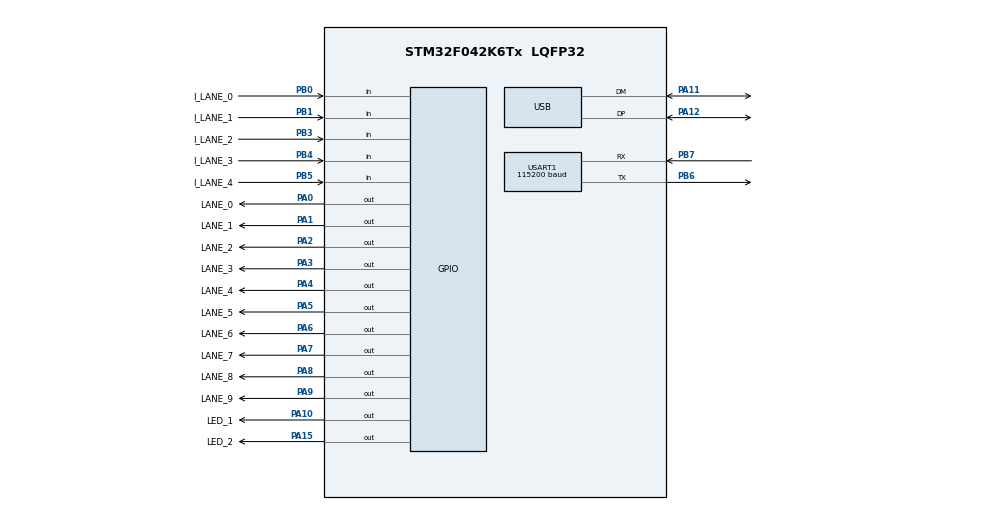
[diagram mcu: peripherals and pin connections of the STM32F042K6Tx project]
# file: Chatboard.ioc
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Mcu.Family=STM32F0
Mcu.Name=STM32F042K6Tx
Mcu.Package=LQFP32
NVIC.USB_IRQn=true\:0\:0\:false\:false\:true\:false
PA0.GPIO_Label=LANE_0
PA0.GPIO_Speed=GPIO_SPEED_FREQ_HIGH
PA0.Signal=GPIO_Output
PA1.GPIO_Label=LANE_1
PA1.GPIO_Speed=GPIO_SPEED_FREQ_HIGH
PA1.Signal=GPIO_Output
PA10.GPIO_Label=LED_1
PA10.Signal=GPIO_Output
PA11.Mode=Device
PA11.Signal=USB_DM
PA12.Mode=Device
PA12.Signal=USB_DP
PA13.Mode=Serial_Wire
PA13.Signal=SYS_SWDIO
PA14.Mode=Serial_Wire
PA14.Signal=SYS_SWCLK
PA15.GPIO_Label=LED_2
PA15.Signal=GPIO_Output
PA2.GPIO_Label=LANE_2
PA2.GPIO_Speed=GPIO_SPEED_FREQ_HIGH
PA2.Signal=GPIO_Output
PA3.GPIO_Label=LANE_3
PA3.GPIO_Speed=GPIO_SPEED_FREQ_HIGH
PA3.Signal=GPIO_Output
PA4.GPIO_Label=LANE_4
PA4.GPIO_Speed=GPIO_SPEED_FREQ_HIGH
PA4.Signal=GPIO_Output
PA5.GPIO_Label=LANE_5
PA5.GPIO_Speed=GPIO_SPEED_FREQ_HIGH
PA5.Signal=GPIO_Output
PA6.GPIO_Label=LANE_6
PA6.GPIO_Speed=GPIO_SPEED_FREQ_HIGH
PA6.Signal=GPIO_Output
PA7.GPIO_Label=LANE_7
PA7.GPIO_Speed=GPIO_SPEED_FREQ_HIGH
PA7.Signal=GPIO_Output
PA8.GPIO_Label=LANE_8
PA8.GPIO_Speed=GPIO_SPEED_FREQ_HIGH
PA8.Signal=GPIO_Output
PA9.GPIO_Label=LANE_9
PA9.GPIO_Speed=GPIO_SPEED_FREQ_HIGH
PA9.Signal=GPIO_Output
PB0.GPIO_Label=I_LANE_0
PB0.GPIO_PuPd=GPIO_PULLDOWN
PB0.Signal=GPIO_Input
PB1.GPIO_Label=I_LANE_1
PB1.GPIO_PuPd=GPIO_PULLDOWN
PB1.Signal=GPIO_Input
PB3.GPIO_Label=I_LANE_2
PB3.GPIO_PuPd=GPIO_PULLDOWN
PB3.Signal=GPIO_Input
PB4.GPIO_Label=I_LANE_3
PB4.GPIO_PuPd=GPIO_PULLDOWN
PB4.Signal=GPIO_Input
PB5.GPIO_Label=I_LANE_4
PB5.GPIO_PuPd=GPIO_PULLDOWN
PB5.Signal=GPIO_Input
PB6.Mode=Asynchronous
PB6.Signal=USART1_TX
PB7.Mode=Asynchronous
PB7.Signal=USART1_RX
PF0-OSC_IN.Mode=HSE-External-Oscillator
PF0-OSC_IN.Signal=RCC_OSC_IN
PF1-OSC_OUT.Mode=HSE-External-Oscillator
PF1-OSC_OUT.Signal=RCC_OSC_OUT
ProjectManager.HeapSize=0x200
ProjectManager.StackSize=0x400
ProjectManager.TargetToolchain=Makefile
RCC.AHBFreq_Value=48000000
RCC.APB1Freq_Value=48000000
RCC.APB1TimFreq_Value=48000000
RCC.HCLKFreq_Value=48000000
RCC.PLLMUL=RCC_PLL_MUL6
RCC.SYSCLKFreq_VALUE=48000000
RCC.SYSCLKSource=RCC_SYSCLKSOURCE_PLLCLK
RCC.USBClockSelection=RCC_USBCLKSOURCE_PLL
RCC.USBFreq_Value=48000000
USART1.BaudRate=115200
USART1.VirtualMode-Asynchronous=VM_ASYNC
USART1.WordLength=WORDLENGTH_8B
USB_DEVICE.CLASS_NAME_FS=HID
USB_DEVICE.USBD_SELF_POWERED=0
USB_DEVICE.VirtualMode=Hid
USB_DEVICE.VirtualModeFS=Hid_FS
VP_USB_DEVICE_VS_USB_DEVICE_HID_FS.Mode=HID_FS
board=Chatboard

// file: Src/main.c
/**
  ******************************************************************************
  * File Name          : main.c
  * Description        : Main program body
  ******************************************************************************
  * This notice applies to any and all portions of this file
  * that are not between comment pairs USER CODE BEGIN and
  * USER CODE END. Other portions of this file, whether
  * inserted by the user or by software development tools
  * are owned by their respective copyright owners.
  *
  * Copyright (c) 2018 STMicroelectronics International N.V.
  * All rights reserved.
  *
  * Redistribution and use in source and binary forms, with or without
  * modification, are permitted, provided that the following conditions are met:
  *
  * 1. Redistribution of source code must retain the above copyright notice,
  *    this list of conditions and the following disclaimer.
  * 2. Redistributions in binary form must reproduce the above copyright notice,
  *    this list of conditions and the following disclaimer in the documentation
  *    and/or other materials provided with the distribution.
  * 3. Neither the name of STMicroelectronics nor the names of other
  *    contributors to this software may be used to endorse or promote products
  *    derived from this software without specific written permission.
  * 4. This software, including modifications and/or derivative works of this
  *    software, must execute solely and exclusively on microcontroller or
  *    microprocessor devices manufactured by or for STMicroelectronics.
  * 5. Redistribution and use of this software other than as permitted under
  *    this license is void and will automatically terminate your rights under
  *    this license.
  *
  * THIS SOFTWARE IS PROVIDED BY STMICROELECTRONICS AND CONTRIBUTORS "AS IS"
  * AND ANY EXPRESS, IMPLIED OR STATUTORY WARRANTIES, INCLUDING, BUT NOT
  * LIMITED TO, THE IMPLIED WARRANTIES OF MERCHANTABILITY, FITNESS FOR A
  * PARTICULAR PURPOSE AND NON-INFRINGEMENT OF THIRD PARTY INTELLECTUAL PROPERTY
  * RIGHTS ARE DISCLAIMED TO THE FULLEST EXTENT PERMITTED BY LAW. IN NO EVENT
  * SHALL STMICROELECTRONICS OR CONTRIBUTORS BE LIABLE FOR ANY DIRECT, INDIRECT,
  * INCIDENTAL, SPECIAL, EXEMPLARY, OR CONSEQUENTIAL DAMAGES (INCLUDING, BUT NOT
  * LIMITED TO, PROCUREMENT OF SUBSTITUTE GOODS OR SERVICES; LOSS OF USE, DATA,
  * OR PROFITS; OR BUSINESS INTERRUPTION) HOWEVER CAUSED AND ON ANY THEORY OF
  * LIABILITY, WHETHER IN CONTRACT, STRICT LIABILITY, OR TORT (INCLUDING
  * NEGLIGENCE OR OTHERWISE) ARISING IN ANY WAY OUT OF THE USE OF THIS SOFTWARE,
  * EVEN IF ADVISED OF THE POSSIBILITY OF SUCH DAMAGE.
  *
  ******************************************************************************
  */

#include "main.h"
#include "stm32f0xx_hal.h"
#include "usb_device.h"

/* USER CODE BEGIN Includes */
#include "usbd_hid.h"
/* USER CODE END Includes */

/* USER CODE BEGIN PV */
/* Private variables ---------------------------------------------------------*/

/* USER CODE END PV */

void SystemClock_Config(void);
static void MX_GPIO_Init(void);
static void MX_USART1_UART_Init(void);

/* USER CODE BEGIN PFP */
/* Private function prototypes -----------------------------------------------*/

/* USER CODE END PFP */

/* USER CODE BEGIN 0 */
static uint8_t keys[10 * 5];
static uint8_t fnActive = 0;

static const uint8_t keycodes[10 * 5 * 2] = {

    /** LAYOUT 1
     */
    0xe0 /* WWW */,     0x1e /* 1 */,       0x14 /* Q */,       0x04 /* A */,       0xe1 /* SHIFT */,
    0xff /* ATT */,     0x1f /* 2 */,       0x1A /* W */,       0x16 /* S */,       0x1d /* Z */,
    0xe3 /* EML */,     0x20 /* 3 */,       0x08 /* E */,       0x07 /* D */,       0x1b /* X */,
    0xe2 /* SMS */,     0x21 /* 4 */,       0x15 /* R */,       0x09 /* F */,       0x06 /* C */,
    0x2c /* Spacebar*/, 0x22 /* 5 */,       0x17 /* T */,       0x0a /* G */,       0x19 /* V */,
    0x50 /* Left */,    0x23 /* 6 */,       0x1c /* Y */,       0x0b /* H */,       0x05 /* B */,
    0x4f /* Right */,   0x24 /* 7 */,       0x18 /* U */,       0x0d /* J */,       0x11 /* N */,
    0x2b /* PHB */,     0x25 /* 8 */,       0x0c /* I */,       0x0e /* K */,       0x10 /* M */,
    0x28 /* YES */,     0x26 /* 9 */,       0x12 /* O */,       0x0f /* L */,       0x37 /* Dot */,
    0x29 /* NO */,      0x27 /* 0 */,       0x13 /* P */,       0x2a /* Backspace */, 0x00 /* None */,

    /** LAYOUT 2
     */
    0xe0 /* WWW */,     0x3a /* F1 */,      0x35 /* ~ */,       0x50 /* Left */,    0xe1 /* SHIFT */,
    0xff /* ATT */,     0x3b /* F2 */,      0x52 /* Up */,      0x51 /* Down */,    0x31 /* | */,
    0x44 /* F11 */,     0x3c /* F3 */,      0x08 /* E */,       0x4f /* Right */,   0x1b /* X */,
    0x45 /* F12 */,     0x3d /* F4 */,      0x15 /* R */,       0x09 /* F */,       0x06 /* C */,
    0x2c /* Spacebar*/, 0x3e /* F5 */,      0x17 /* T */,       0x0a /* G */,       0x19 /* V */,
    0x52 /* Up */,      0x3f /* F6 */,      0x1c /* Y */,       0x48 /* Pause */,   0x4d /* End */,
    0x51 /* Down */,    0x40 /* F7 */,      0x4a /* Home */,    0x33 /* ; */,       0x4e /* PgDn */,
    0x49 /* Ins */,     0x41 /* F8 */,      0x4b /* PgUp */,    0x34 /* ' */,       0x46 /* PrtScr */,
    0x2d /* Minus */,   0x42 /* F9 */,      0x2f /* [ */,       0x31 /* | */,       0x36 /* Comma */,
    0x2e /* Plus */,    0x43 /* F10 */,     0x30 /* ] */,       0x4c /* Delete */,  0x00 /* None */
};

static volatile uint8_t report[8];

static inline void addKeycode(uint8_t keycode) {

    for (size_t i=2; i<8; i++) {
        if (!report[i]) {

            report[i] = keycode;
            return;
        }
    }
}

static inline void resetReport() {
    for (size_t i=2; i<8; i++) report[i] = 0;
}

/* USER CODE END 0 */

int main(void)
{

  /* MCU Configuration----------------------------------------------------------*/

  /* Reset of all peripherals, Initializes the Flash interface and the Systick. */
  HAL_Init();

  /* Configure the system clock */
  SystemClock_Config();

  /* Initialize all configured peripherals */
  MX_GPIO_Init();
  MX_USART1_UART_Init();
  MX_USB_DEVICE_Init();

  /* USER CODE BEGIN 2 */
  LL_GPIO_TogglePin(GPIOA, LED_1_Pin);
  /* USER CODE END 2 */

  /* Infinite loop */
  /* USER CODE BEGIN WHILE */
  /* volatile */ uint32_t scanPin = 0, readPins;
  for (size_t i=0; i<sizeof(keys);i++) keys[i] = 0;

  uint8_t keyChanges = 0;
  resetReport();

  while (1)
  {
  /* USER CODE END WHILE */

  /* USER CODE BEGIN 3 */
    // LL_GPIO_TogglePin(GPIOA, LED_1_Pin | LED_2_Pin);
    // LL_mDelay(500);
    GPIOA->ODR &= 0xfffffc00u;
    GPIOA->ODR |= 0x3ffu ^ (1 << scanPin);
    readPins = LL_GPIO_ReadInputPort(GPIOB) & 0x3bu;

    for (size_t i=0; i<5;i++) {

      uint8_t *key = keys + scanPin * 5 + i;
      uint8_t pinVal = (i < 2) ?
        ((readPins & (1 << i)) ? 1 : 0) : ((readPins & (1 << (i + 1))) ? 1 : 0);

      if (*key != pinVal) {

          /* DEBUG */ LL_GPIO_TogglePin(GPIOA, LED_1_Pin | LED_2_Pin);
          *key = pinVal;

          switch(keycodes[scanPin * 5 + i + (5 * 10 * fnActive)]) {
            /**
                (bit 0 is L CTRL,
                 bit 1 is L SHIFT,
                 bit 2 is L ALT,
                 bit 3 is L GUI (WIN),
                 bit 4 is R CTRL,
                 bit 5 is R SHIFT,
                 bit 6 is R ALT,
                 and bit 7 is R GUI (WIN)).
             */

          case 0xe0: /* WWW / Control */
            if (pinVal) report[0] &= ~1; else report[0] |= 1;
            break;

          case 0xe1: /* SHIFT */
            if (pinVal) report[0] &= ~2; else report[0] |= 2;
            break;

          case 0xff: /* ATT / Fn */
            fnActive = (pinVal) ? 0 : 1; /* second layout */
            break;

          case 0xe3: /* EML / GUI / Windows */
            if (pinVal) report[0] &= ~8; else report[0] |= 8;
            break;

          case 0xe2: /* SMS / Alt */
            if (pinVal) report[0] &= ~4; else report[0] |= 4;
            break;

          default:
            break;
          }

          if (!pinVal) {
             addKeycode(keycodes[scanPin * 5 + i + (5 * 10 * fnActive)]);
          }

          keyChanges++;
      }
    }

    if (++scanPin > 9) {

      if (keyChanges) {
         if (USBD_HID_SendReport(&hUsbDeviceFS, report, sizeof(report)) == USBD_OK) {
         }
      }

      scanPin = 0;
      keyChanges = 0;
      resetReport();
    }
  }
  /* USER CODE END 3 */

}

/** System Clock Configuration
*/
void SystemClock_Config(void)
{

  LL_FLASH_SetLatency(LL_FLASH_LATENCY_1);

  if(LL_FLASH_GetLatency() != LL_FLASH_LATENCY_1)
  {
  Error_Handler();
  }
  LL_RCC_HSE_Enable();

   /* Wait till HSE is ready */
  while(LL_RCC_HSE_IsReady() != 1)
  {

  }
  LL_RCC_PLL_ConfigDomain_SYS(LL_RCC_PLLSOURCE_HSE, LL_RCC_PLL_MUL_6, LL_RCC_PREDIV_DIV_1);

  LL_RCC_PLL_Enable();

   /* Wait till PLL is ready */
  while(LL_RCC_PLL_IsReady() != 1)
  {

  }
  LL_RCC_SetAHBPrescaler(LL_RCC_SYSCLK_DIV_1);

  LL_RCC_SetAPB1Prescaler(LL_RCC_APB1_DIV_1);

  LL_RCC_SetSysClkSource(LL_RCC_SYS_CLKSOURCE_PLL);

   /* Wait till System clock is ready */
  while(LL_RCC_GetSysClkSource() != LL_RCC_SYS_CLKSOURCE_STATUS_PLL)
  {

  }
  LL_Init1msTick(48000000);

  LL_SYSTICK_SetClkSource(LL_SYSTICK_CLKSOURCE_HCLK);

  LL_SetSystemCoreClock(48000000);

  LL_RCC_SetUSARTClockSource(LL_RCC_USART1_CLKSOURCE_PCLK1);

  LL_RCC_SetUSBClockSource(LL_RCC_USB_CLKSOURCE_PLL);

  /* SysTick_IRQn interrupt configuration */
  NVIC_SetPriority(SysTick_IRQn, 0);
}

/* USART1 init function */
static void MX_USART1_UART_Init(void)
{

  LL_USART_InitTypeDef USART_InitStruct;

  LL_GPIO_InitTypeDef GPIO_InitStruct;

  /* Peripheral clock enable */
  LL_APB1_GRP2_EnableClock(LL_APB1_GRP2_PERIPH_USART1);

  /**USART1 GPIO Configuration
  PB6   ------> USART1_TX
  PB7   ------> USART1_RX
  */
  GPIO_InitStruct.Pin = LL_GPIO_PIN_6;
  GPIO_InitStruct.Mode = LL_GPIO_MODE_ALTERNATE;
  GPIO_InitStruct.Speed = LL_GPIO_SPEED_FREQ_HIGH;
  GPIO_InitStruct.OutputType = LL_GPIO_OUTPUT_PUSHPULL;
  GPIO_InitStruct.Pull = LL_GPIO_PULL_UP;
  GPIO_InitStruct.Alternate = LL_GPIO_AF_0;
  LL_GPIO_Init(GPIOB, &GPIO_InitStruct);

  GPIO_InitStruct.Pin = LL_GPIO_PIN_7;
  GPIO_InitStruct.Mode = LL_GPIO_MODE_ALTERNATE;
  GPIO_InitStruct.Speed = LL_GPIO_SPEED_FREQ_HIGH;
  GPIO_InitStruct.OutputType = LL_GPIO_OUTPUT_PUSHPULL;
  GPIO_InitStruct.Pull = LL_GPIO_PULL_UP;
  GPIO_InitStruct.Alternate = LL_GPIO_AF_0;
  LL_GPIO_Init(GPIOB, &GPIO_InitStruct);

  USART_InitStruct.BaudRate = 115200;
  USART_InitStruct.DataWidth = LL_USART_DATAWIDTH_8B;
  USART_InitStruct.StopBits = LL_USART_STOPBITS_1;
  USART_InitStruct.Parity = LL_USART_PARITY_NONE;
  USART_InitStruct.TransferDirection = LL_USART_DIRECTION_TX_RX;
  USART_InitStruct.HardwareFlowControl = LL_USART_HWCONTROL_NONE;
  USART_InitStruct.OverSampling = LL_USART_OVERSAMPLING_16;
  LL_USART_Init(USART1, &USART_InitStruct);

  LL_USART_DisableIT_CTS(USART1);

  LL_USART_DisableOverrunDetect(USART1);

  LL_USART_ConfigAsyncMode(USART1);

  LL_USART_Enable(USART1);

}

/** Configure pins as
        * Analog
        * Input
        * Output
        * EVENT_OUT
        * EXTI
*/
static void MX_GPIO_Init(void)
{

  LL_GPIO_InitTypeDef GPIO_InitStruct;

  /* GPIO Ports Clock Enable */
  LL_AHB1_GRP1_EnableClock(LL_AHB1_GRP1_PERIPH_GPIOF);
  LL_AHB1_GRP1_EnableClock(LL_AHB1_GRP1_PERIPH_GPIOA);
  LL_AHB1_GRP1_EnableClock(LL_AHB1_GRP1_PERIPH_GPIOB);

  /**/
  LL_GPIO_ResetOutputPin(LANE_0_GPIO_Port, LANE_0_Pin);

  /**/
  LL_GPIO_ResetOutputPin(LANE_1_GPIO_Port, LANE_1_Pin);

  /**/
  LL_GPIO_ResetOutputPin(LANE_2_GPIO_Port, LANE_2_Pin);

  /**/
  LL_GPIO_ResetOutputPin(LANE_3_GPIO_Port, LANE_3_Pin);

  /**/
  LL_GPIO_ResetOutputPin(LANE_4_GPIO_Port, LANE_4_Pin);

  /**/
  LL_GPIO_ResetOutputPin(LANE_5_GPIO_Port, LANE_5_Pin);

  /**/
  LL_GPIO_ResetOutputPin(LANE_6_GPIO_Port, LANE_6_Pin);

  /**/
  LL_GPIO_ResetOutputPin(LANE_7_GPIO_Port, LANE_7_Pin);

  /**/
  LL_GPIO_ResetOutputPin(LANE_8_GPIO_Port, LANE_8_Pin);

  /**/
  LL_GPIO_ResetOutputPin(LANE_9_GPIO_Port, LANE_9_Pin);

  /**/
  LL_GPIO_ResetOutputPin(LED_1_GPIO_Port, LED_1_Pin);

  /**/
  LL_GPIO_ResetOutputPin(LED_2_GPIO_Port, LED_2_Pin);

  /**/
  GPIO_InitStruct.Pin = LANE_0_Pin;
  GPIO_InitStruct.Mode = LL_GPIO_MODE_OUTPUT;
  GPIO_InitStruct.Speed = LL_GPIO_SPEED_FREQ_HIGH;
  GPIO_InitStruct.OutputType = LL_GPIO_OUTPUT_PUSHPULL;
  GPIO_InitStruct.Pull = LL_GPIO_PULL_NO;
  LL_GPIO_Init(LANE_0_GPIO_Port, &GPIO_InitStruct);

  /**/
  GPIO_InitStruct.Pin = LANE_1_Pin;
  GPIO_InitStruct.Mode = LL_GPIO_MODE_OUTPUT;
  GPIO_InitStruct.Speed = LL_GPIO_SPEED_FREQ_HIGH;
  GPIO_InitStruct.OutputType = LL_GPIO_OUTPUT_PUSHPULL;
  GPIO_InitStruct.Pull = LL_GPIO_PULL_NO;
  LL_GPIO_Init(LANE_1_GPIO_Port, &GPIO_InitStruct);

  /**/
  GPIO_InitStruct.Pin = LANE_2_Pin;
  GPIO_InitStruct.Mode = LL_GPIO_MODE_OUTPUT;
  GPIO_InitStruct.Speed = LL_GPIO_SPEED_FREQ_HIGH;
  GPIO_InitStruct.OutputType = LL_GPIO_OUTPUT_PUSHPULL;
  GPIO_InitStruct.Pull = LL_GPIO_PULL_NO;
  LL_GPIO_Init(LANE_2_GPIO_Port, &GPIO_InitStruct);

  /**/
  GPIO_InitStruct.Pin = LANE_3_Pin;
  GPIO_InitStruct.Mode = LL_GPIO_MODE_OUTPUT;
  GPIO_InitStruct.Speed = LL_GPIO_SPEED_FREQ_HIGH;
  GPIO_InitStruct.OutputType = LL_GPIO_OUTPUT_PUSHPULL;
  GPIO_InitStruct.Pull = LL_GPIO_PULL_NO;
  LL_GPIO_Init(LANE_3_GPIO_Port, &GPIO_InitStruct);

  /**/
  GPIO_InitStruct.Pin = LANE_4_Pin;
  GPIO_InitStruct.Mode = LL_GPIO_MODE_OUTPUT;
  GPIO_InitStruct.Speed = LL_GPIO_SPEED_FREQ_HIGH;
  GPIO_InitStruct.OutputType = LL_GPIO_OUTPUT_PUSHPULL;
  GPIO_InitStruct.Pull = LL_GPIO_PULL_NO;
  LL_GPIO_Init(LANE_4_GPIO_Port, &GPIO_InitStruct);

  /**/
  GPIO_InitStruct.Pin = LANE_5_Pin;
  GPIO_InitStruct.Mode = LL_GPIO_MODE_OUTPUT;
  GPIO_InitStruct.Speed = LL_GPIO_SPEED_FREQ_HIGH;
  GPIO_InitStruct.OutputType = LL_GPIO_OUTPUT_PUSHPULL;
  GPIO_InitStruct.Pull = LL_GPIO_PULL_NO;
  LL_GPIO_Init(LANE_5_GPIO_Port, &GPIO_InitStruct);

  /**/
  GPIO_InitStruct.Pin = LANE_6_Pin;
  GPIO_InitStruct.Mode = LL_GPIO_MODE_OUTPUT;
  GPIO_InitStruct.Speed = LL_GPIO_SPEED_FREQ_HIGH;
  GPIO_InitStruct.OutputType = LL_GPIO_OUTPUT_PUSHPULL;
  GPIO_InitStruct.Pull = LL_GPIO_PULL_NO;
  LL_GPIO_Init(LANE_6_GPIO_Port, &GPIO_InitStruct);

  /**/
  GPIO_InitStruct.Pin = LANE_7_Pin;
  GPIO_InitStruct.Mode = LL_GPIO_MODE_OUTPUT;
  GPIO_InitStruct.Speed = LL_GPIO_SPEED_FREQ_HIGH;
  GPIO_InitStruct.OutputType = LL_GPIO_OUTPUT_PUSHPULL;
  GPIO_InitStruct.Pull = LL_GPIO_PULL_NO;
  LL_GPIO_Init(LANE_7_GPIO_Port, &GPIO_InitStruct);

  /**/
  GPIO_InitStruct.Pin = I_LANE_0_Pin;
  GPIO_InitStruct.Mode = LL_GPIO_MODE_INPUT;
  GPIO_InitStruct.Pull = LL_GPIO_PULL_DOWN;
  LL_GPIO_Init(I_LANE_0_GPIO_Port, &GPIO_InitStruct);

  /**/
  GPIO_InitStruct.Pin = I_LANE_1_Pin;
  GPIO_InitStruct.Mode = LL_GPIO_MODE_INPUT;
  GPIO_InitStruct.Pull = LL_GPIO_PULL_DOWN;
  LL_GPIO_Init(I_LANE_1_GPIO_Port, &GPIO_InitStruct);

  /**/
  GPIO_InitStruct.Pin = LANE_8_Pin;
  GPIO_InitStruct.Mode = LL_GPIO_MODE_OUTPUT;
  GPIO_InitStruct.Speed = LL_GPIO_SPEED_FREQ_HIGH;
  GPIO_InitStruct.OutputType = LL_GPIO_OUTPUT_PUSHPULL;
  GPIO_InitStruct.Pull = LL_GPIO_PULL_NO;
  LL_GPIO_Init(LANE_8_GPIO_Port, &GPIO_InitStruct);

  /**/
  GPIO_InitStruct.Pin = LANE_9_Pin;
  GPIO_InitStruct.Mode = LL_GPIO_MODE_OUTPUT;
  GPIO_InitStruct.Speed = LL_GPIO_SPEED_FREQ_HIGH;
  GPIO_InitStruct.OutputType = LL_GPIO_OUTPUT_PUSHPULL;
  GPIO_InitStruct.Pull = LL_GPIO_PULL_NO;
  LL_GPIO_Init(LANE_9_GPIO_Port, &GPIO_InitStruct);

  /**/
  GPIO_InitStruct.Pin = LED_1_Pin;
  GPIO_InitStruct.Mode = LL_GPIO_MODE_OUTPUT;
  GPIO_InitStruct.Speed = LL_GPIO_SPEED_FREQ_LOW;
  GPIO_InitStruct.OutputType = LL_GPIO_OUTPUT_PUSHPULL;
  GPIO_InitStruct.Pull = LL_GPIO_PULL_NO;
  LL_GPIO_Init(LED_1_GPIO_Port, &GPIO_InitStruct);

  /**/
  GPIO_InitStruct.Pin = LED_2_Pin;
  GPIO_InitStruct.Mode = LL_GPIO_MODE_OUTPUT;
  GPIO_InitStruct.Speed = LL_GPIO_SPEED_FREQ_LOW;
  GPIO_InitStruct.OutputType = LL_GPIO_OUTPUT_PUSHPULL;
  GPIO_InitStruct.Pull = LL_GPIO_PULL_NO;
  LL_GPIO_Init(LED_2_GPIO_Port, &GPIO_InitStruct);

  /**/
  GPIO_InitStruct.Pin = I_LANE_2_Pin;
  GPIO_InitStruct.Mode = LL_GPIO_MODE_INPUT;
  GPIO_InitStruct.Pull = LL_GPIO_PULL_DOWN;
  LL_GPIO_Init(I_LANE_2_GPIO_Port, &GPIO_InitStruct);

  /**/
  GPIO_InitStruct.Pin = I_LANE_3_Pin;
  GPIO_InitStruct.Mode = LL_GPIO_MODE_INPUT;
  GPIO_InitStruct.Pull = LL_GPIO_PULL_DOWN;
  LL_GPIO_Init(I_LANE_3_GPIO_Port, &GPIO_InitStruct);

  /**/
  GPIO_InitStruct.Pin = I_LANE_4_Pin;
  GPIO_InitStruct.Mode = LL_GPIO_MODE_INPUT;
  GPIO_InitStruct.Pull = LL_GPIO_PULL_DOWN;
  LL_GPIO_Init(I_LANE_4_GPIO_Port, &GPIO_InitStruct);

}

void _Error_Handler(char * file, int line)
{
  while(1)
  {
  }
}

/************************ (C) COPYRIGHT STMicroelectronics *****END OF FILE****/
